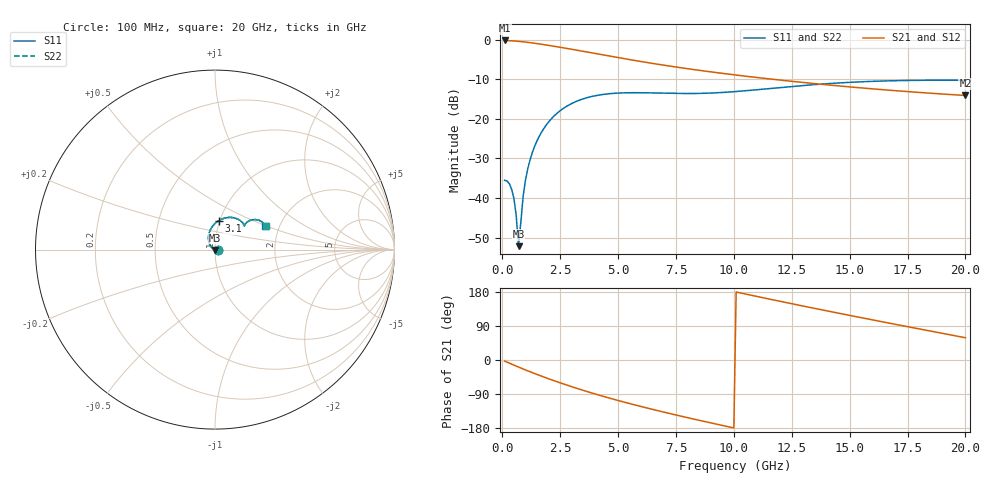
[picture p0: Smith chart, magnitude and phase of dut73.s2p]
! Touchstone file exported from HFSS 2024.1.0
!  File:  C:/UserFiles/LocalFiles/RDL_TSV_Batchsim/temp_RDL_TSV_73_1779412042.aedt
!  Generated:  09:26:50 AM May 22, 2026
!  Design:  RDL_TSV
!  Project:  temp_RDL_TSV_73_1779412042
!  Setup:  Setup1
!  Solution:  Sweep
! Variables:
!  dtsv = 12.21um
!  hbump = 3um
!  htsv = 94.2um
!  ldown = 555.26um
!  lrdl = 669.73um
!  p = 40
!  p1 = 56.71um
!  rhole = 10um
!  subl = 4344.7um
!  t = 450um
!  tdown = 3.97um
!  trdl = 3.85um
!  viad = 10um
!  wdown = 19.03um
!  wrdl = 29.27um
!  xbump = 18um
# GHz S MA R 50.000000
! Terminal data exported
! Port[1] = TM1_1_T1
! Port[2] = TM1_4_T1
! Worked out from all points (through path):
!   200 points, 100 MHz to 20 GHz, reference 50 ohm
!   highest |S21| = -0.15 dB at 100 MHz (marker M1); lowest = -14.1 dB at 20 GHz (marker M2)
!   group delay of S21, straight-line fit = 39.4 ps
!   lowest |S11| = -52.2 dB at 700 MHz (marker M3), VSWR 1.00, Z = 50 - j0.246 ohm
!   |S11| at or under -10 dB: start of sweep to end of sweep
!   |S22| runs from -52.2 to -10.2 dB; largest |S21 - S12| = 7.6e-15
!   S11 on the Smith chart (normalised r, x): 100 MHz: 1.03, -0.00; 3.1 GHz: 0.99, +0.33; 20 GHz: 1.69, +0.48
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0.1  0.01674 -1.3  0.9823 -2.8  0.9823 -2.8  0.01674 -1.3
! Gamma 0 0 0 0
! Port Impedance 50 0 50 0
0.3  0.01526 -10.2  0.9766 -8.2  0.9766 -8.2  0.01525 -10.2
0.4  0.01304 -16.7  0.9727 -10.8  0.9727 -10.8  0.01304 -16.7
0.5  0.009925 -24.8  0.9682 -13.5  0.9682 -13.5  0.009923 -24.9
0.6  0.006109 -38.2  0.9632 -16.1  0.9632 -16.1  0.006105 -38.3
0.7  0.002464 -87.9  0.9575 -18.6  0.9575 -18.6  0.002465 -88.2
0.9  0.01048 162.6  0.9445 -23.7  0.9445 -23.7  0.0105 162.6
1  0.01673 153.8  0.9373 -26.2  0.9373 -26.2  0.01675 153.8
1.2  0.03048 142.3  0.9218 -31.1  0.9218 -31.1  0.0305 142.3
1.4  0.04531 133.4  0.9052 -35.9  0.9052 -35.9  0.04534 133.4
1.7  0.06849 122.0  0.8789 -42.9  0.8789 -42.9  0.06853 122.0
2.1  0.09904 108.9  0.8425 -51.8  0.8425 -51.8  0.0991 108.9
2.6  0.1336 94.9  0.7965 -62.4  0.7965 -62.4  0.1337 94.9
3.1  0.162 83.0  0.7511 -72.5  0.7511 -72.5  0.1621 83.0
3.5  0.1798 74.8  0.7158 -80.2  0.7158 -80.2  0.1799 74.8
5.1  0.2131 51.5  0.5897 -108.5  0.5897 -108.5  0.2132 51.6
6.8  0.2121 40.5  0.487 -135.0  0.487 -135.0  0.2124 40.5
8.3  0.2097 38.8  0.4196 -156.4  0.4196 -156.4  0.2101 38.8
10.1  0.2222 40.3  0.3586 179.3  0.3586 179.3  0.2227 40.3
13.4  0.2707 38.0  0.2812 137.3  0.2812 137.3  0.2713 38.0
16.7  0.3033 30.6  0.2309 97.4  0.2309 97.4  0.3041 30.6
20  0.3089 24.6  0.1981 58.8  0.1981 58.8  0.3099 24.6
